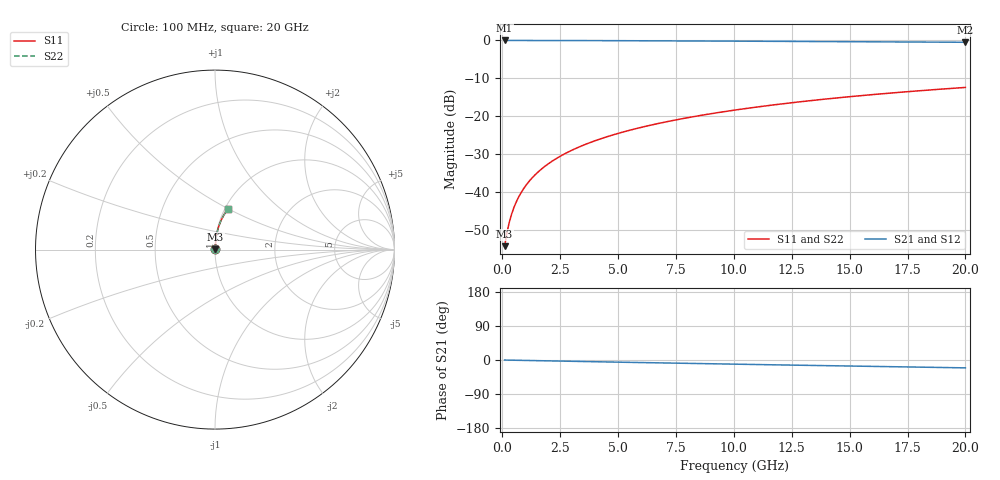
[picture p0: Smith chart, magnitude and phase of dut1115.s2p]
! Touchstone file exported from HFSS 2024.1.0
!  File:  C:/UserFiles/LocalFiles/RDL_TSV_Batchsim/temp_RDL_bottom_1115_1780054592.aedt
!  Generated:  07:39:16 PM May 29, 2026
!  Design:  RDL_bottom
!  Project:  temp_RDL_bottom_1115_1780054592
!  Setup:  Setup1
!  Solution:  Sweep
! Variables:
!  dtsv = 10.80580581um
!  hbump = 3um
!  htsv = 79.91um
!  ldown = 264.19um
!  lrdl = 100um
!  p = 40
!  p1 = 43.31um
!  rhole = 1um
!  t = 450um
!  tdown = 4.66um
!  trdl = 3.915915916um
!  wdown = 14.61um
!  wrdl = 20um
# GHz S MA R 50.000000
! Terminal data exported
! Port[1] = RDL1_T1
! Port[2] = RDL1_T2
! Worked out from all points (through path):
!   200 points, 100 MHz to 20 GHz, reference 50 ohm
!   highest |S21| = -0.01 dB at 100 MHz (marker M1); lowest = -0.5 dB at 20 GHz (marker M2)
!   group delay of S21, straight-line fit = 2.87 ps
!   lowest |S11| = -54.2 dB at 100 MHz (marker M3), VSWR 1.00, Z = 50.1 + j0.125 ohm
!   |S11| at or under -10 dB: start of sweep to end of sweep
!   |S22| runs from -54.2 to -12.4 dB; largest |S21 - S12| = 4.8e-15
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0.1  0.00195 39.9  0.9985 -0.1  0.9985 -0.1  0.00195 39.9
! Gamma 0 0 0 0
! Port Impedance 50 0 50 0
0.2  0.002917 58.1  0.9985 -0.2  0.9985 -0.2  0.002917 58.1
0.3  0.004005 66.6  0.9984 -0.4  0.9984 -0.4  0.004005 66.6
0.4  0.005128 71.4  0.9983 -0.5  0.9983 -0.5  0.005128 71.4
0.5  0.006268 74.5  0.9983 -0.6  0.9983 -0.6  0.006268 74.5
0.6  0.007417 76.7  0.9982 -0.7  0.9982 -0.7  0.007417 76.7
0.8  0.009739 79.5  0.9981 -0.9  0.9981 -0.9  0.009739 79.5
1.1  0.01325 81.9  0.9979 -1.3  0.9979 -1.3  0.01325 81.9
1.5  0.01796 83.5  0.9976 -1.7  0.9976 -1.7  0.01796 83.5
1.8  0.02151 84.1  0.9973 -2.1  0.9973 -2.1  0.02151 84.1
2.1  0.02506 84.5  0.9969 -2.4  0.9969 -2.4  0.02506 84.5
2.7  0.03217 85.0  0.9961 -3.1  0.9961 -3.1  0.03217 85.0
3.5  0.04168 85.1  0.9948 -4.0  0.9948 -4.0  0.04168 85.1
4.2  0.05001 85.0  0.9934 -4.8  0.9934 -4.8  0.05001 85.0
5  0.05958 84.7  0.9917 -5.7  0.9917 -5.7  0.05958 84.7
5.9  0.0704 84.3  0.9895 -6.7  0.9895 -6.7  0.0704 84.3
6.8  0.08129 83.8  0.9872 -7.6  0.9872 -7.6  0.08129 83.8
8.3  0.09957 82.8  0.983 -9.2  0.983 -9.2  0.09956 82.8
10.1  0.1216 81.4  0.9778 -11.1  0.9778 -11.1  0.1216 81.4
13.4  0.1621 78.5  0.9674 -14.4  0.9674 -14.4  0.1621 78.5
16.7  0.2018 75.4  0.9564 -17.6  0.9564 -17.6  0.2018 75.4
20  0.2403 72.2  0.9447 -20.8  0.9447 -20.8  0.2402 72.2
